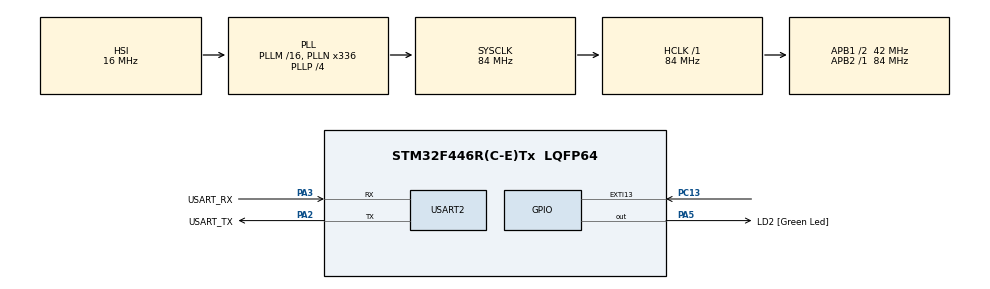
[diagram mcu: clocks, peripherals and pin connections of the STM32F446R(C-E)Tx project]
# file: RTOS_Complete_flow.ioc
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FREERTOS.BinarySemaphores01=buttonSemaphore,Dynamic,NULL,Depleted
FREERTOS.Mutexes01=uartMutex,Dynamic,NULL,Available
FREERTOS.Queues01=SensorDataQueue,5,uint32_t,0,Dynamic,NULL,NULL
FREERTOS.Tasks01=SensorTask,24,128,SensorTask_init,Default,NULL,Dynamic,NULL,NULL;LoggerTask,25,128,LoggerTask_Init,Default,NULL,Dynamic,NULL,NULL;DefTask,8,128,DefTask_init,Default,NULL,Dynamic,NULL,NULL
FREERTOS.configUSE_NEWLIB_REENTRANT=1
Mcu.Family=STM32F4
Mcu.Name=STM32F446R(C-E)Tx
Mcu.Package=LQFP64
NVIC.EXTI15_10_IRQn=true\:5\:0\:false\:false\:true\:true\:true\:true\:true
NVIC.PriorityGroup=NVIC_PRIORITYGROUP_4
NVIC.TIM6_DAC_IRQn=true\:15\:0\:false\:false\:true\:false\:false\:true\:true
NVIC.TimeBase=TIM6_DAC_IRQn
NVIC.TimeBaseIP=TIM6
NVIC.USART2_IRQn=true\:5\:0\:false\:false\:true\:true\:true\:true\:true
PA13.Mode=Trace_Asynchronous_SW
PA13.Signal=SYS_JTMS-SWDIO
PA14.Mode=Trace_Asynchronous_SW
PA14.Signal=SYS_JTCK-SWCLK
PA2.GPIO_Label=USART_TX
PA2.Mode=Asynchronous
PA2.Signal=USART2_TX
PA3.GPIO_Label=USART_RX
PA3.Mode=Asynchronous
PA3.Signal=USART2_RX
PA5.GPIO_Label=LD2 [Green Led]
PA5.Signal=GPIO_Output
PB3.Mode=Trace_Asynchronous_SW
PB3.Signal=SYS_JTDO-SWO
PC13.GPIO_ModeDefaultEXTI=GPIO_MODE_IT_FALLING
PC13.Signal=GPXTI13
ProjectManager.HeapSize=0x200
ProjectManager.StackSize=0x400
ProjectManager.TargetToolchain=STM32CubeIDE
RCC.AHBFreq_Value=84000000
RCC.APB1CLKDivider=RCC_HCLK_DIV2
RCC.APB1Freq_Value=42000000
RCC.APB1TimFreq_Value=84000000
RCC.APB2Freq_Value=84000000
RCC.APB2TimFreq_Value=84000000
RCC.CortexFreq_Value=84000000
RCC.FLatency-AdvancedSettings=FLASH_LATENCY_2
RCC.HCLKFreq_Value=84000000
RCC.HSE_VALUE=8000000
RCC.HSI_VALUE=16000000
RCC.LSE_VALUE=32768
RCC.PLLN=336
RCC.PLLP=RCC_PLLP_DIV4
RCC.SYSCLKFreq_VALUE=84000000
RCC.SYSCLKSource=RCC_SYSCLKSOURCE_PLLCLK
RCC.USBFreq_Value=168000000
RCC.VCOOutputFreq_Value=336000000
USART2.VirtualMode=VM_ASYNC
VP_FREERTOS_VS_CMSIS_V2.Mode=CMSIS_V2
VP_SYS_VS_tim6.Mode=TIM6
board=NUCLEO-F446RE

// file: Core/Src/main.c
/* USER CODE BEGIN Header */
/**
  ******************************************************************************
  * @file           : main.c
  * @brief          : Main program body
  ******************************************************************************
  * @attention
  *
  * Copyright (c) 2025 STMicroelectronics.
  * All rights reserved.
  *
  * This software is licensed under terms that can be found in the LICENSE file
  * in the root directory of this software component.
  * If no LICENSE file comes with this software, it is provided AS-IS.
  *
  ******************************************************************************
  */
/* USER CODE END Header */
#include "main.h"
#include "cmsis_os.h"

/* USER CODE BEGIN Includes */
#include<stdio.h>
#include<string.h>
/* USER CODE END Includes */

UART_HandleTypeDef huart2;

/* Definitions for SensorTask */
osThreadId_t SensorTaskHandle;
const osThreadAttr_t SensorTask_attributes = {
  .name = "SensorTask",
  .stack_size = 128 * 4,
  .priority = (osPriority_t) osPriorityNormal,
};
/* Definitions for LoggerTask */
osThreadId_t LoggerTaskHandle;
const osThreadAttr_t LoggerTask_attributes = {
  .name = "LoggerTask",
  .stack_size = 128 * 4,
  .priority = (osPriority_t) osPriorityNormal1,
};
/* Definitions for DefTask */
osThreadId_t DefTaskHandle;
const osThreadAttr_t DefTask_attributes = {
  .name = "DefTask",
  .stack_size = 128 * 4,
  .priority = (osPriority_t) osPriorityLow,
};
/* Definitions for SensorDataQueue */
osMessageQueueId_t SensorDataQueueHandle;
const osMessageQueueAttr_t SensorDataQueue_attributes = {
  .name = "SensorDataQueue"
};
/* Definitions for uartMutex */
osMutexId_t uartMutexHandle;
const osMutexAttr_t uartMutex_attributes = {
  .name = "uartMutex"
};
/* Definitions for buttonSemaphore */
osSemaphoreId_t buttonSemaphoreHandle;
const osSemaphoreAttr_t buttonSemaphore_attributes = {
  .name = "buttonSemaphore"
};

void SystemClock_Config(void);
static void MX_GPIO_Init(void);
static void MX_USART2_UART_Init(void);
void SensorTask_init(void *argument);
void LoggerTask_Init(void *argument);
void DefTask_init(void *argument);

int main(void)
{

  /* MCU Configuration--------------------------------------------------------*/

  /* Reset of all peripherals, Initializes the Flash interface and the Systick. */
  HAL_Init();

  /* Configure the system clock */
  SystemClock_Config();

  /* Initialize all configured peripherals */
  MX_GPIO_Init();
  MX_USART2_UART_Init();

  /* Init scheduler */
  osKernelInitialize();
  /* Create the mutex(es) */
  /* creation of uartMutex */
  uartMutexHandle = osMutexNew(&uartMutex_attributes);

  /* Create the semaphores(s) */
  /* creation of buttonSemaphore */
  buttonSemaphoreHandle = osSemaphoreNew(1, 0, &buttonSemaphore_attributes);

  /* Create the queue(s) */
  /* creation of SensorDataQueue */
  SensorDataQueueHandle = osMessageQueueNew (5, sizeof(uint32_t), &SensorDataQueue_attributes);

  /* Create the thread(s) */
  /* creation of SensorTask */
  SensorTaskHandle = osThreadNew(SensorTask_init, NULL, &SensorTask_attributes);

  /* creation of LoggerTask */
  LoggerTaskHandle = osThreadNew(LoggerTask_Init, NULL, &LoggerTask_attributes);

  /* creation of DefTask */
  DefTaskHandle = osThreadNew(DefTask_init, NULL, &DefTask_attributes);

  /* Start scheduler */
  osKernelStart();

  /* We should never get here as control is now taken by the scheduler */

  /* Infinite loop */
  while (1)
  {

  }
}

void SystemClock_Config(void)
{
  RCC_OscInitTypeDef RCC_OscInitStruct = {0};
  RCC_ClkInitTypeDef RCC_ClkInitStruct = {0};

  /** Configure the main internal regulator output voltage
  */
  __HAL_RCC_PWR_CLK_ENABLE();
  __HAL_PWR_VOLTAGESCALING_CONFIG(PWR_REGULATOR_VOLTAGE_SCALE3);

  /** Initializes the RCC Oscillators according to the specified parameters
  * in the RCC_OscInitTypeDef structure.
  */
  RCC_OscInitStruct.OscillatorType = RCC_OSCILLATORTYPE_HSI;
  RCC_OscInitStruct.HSIState = RCC_HSI_ON;
  RCC_OscInitStruct.HSICalibrationValue = RCC_HSICALIBRATION_DEFAULT;
  RCC_OscInitStruct.PLL.PLLState = RCC_PLL_ON;
  RCC_OscInitStruct.PLL.PLLSource = RCC_PLLSOURCE_HSI;
  RCC_OscInitStruct.PLL.PLLM = 16;
  RCC_OscInitStruct.PLL.PLLN = 336;
  RCC_OscInitStruct.PLL.PLLP = RCC_PLLP_DIV4;
  RCC_OscInitStruct.PLL.PLLQ = 2;
  RCC_OscInitStruct.PLL.PLLR = 2;
  if (HAL_RCC_OscConfig(&RCC_OscInitStruct) != HAL_OK)
  {
    Error_Handler();
  }

  /** Initializes the CPU, AHB and APB buses clocks
  */
  RCC_ClkInitStruct.ClockType = RCC_CLOCKTYPE_HCLK|RCC_CLOCKTYPE_SYSCLK
                              |RCC_CLOCKTYPE_PCLK1|RCC_CLOCKTYPE_PCLK2;
  RCC_ClkInitStruct.SYSCLKSource = RCC_SYSCLKSOURCE_PLLCLK;
  RCC_ClkInitStruct.AHBCLKDivider = RCC_SYSCLK_DIV1;
  RCC_ClkInitStruct.APB1CLKDivider = RCC_HCLK_DIV2;
  RCC_ClkInitStruct.APB2CLKDivider = RCC_HCLK_DIV1;

  if (HAL_RCC_ClockConfig(&RCC_ClkInitStruct, FLASH_LATENCY_2) != HAL_OK)
  {
    Error_Handler();
  }
}

static void MX_USART2_UART_Init(void)
{

  huart2.Instance = USART2;
  huart2.Init.BaudRate = 115200;
  huart2.Init.WordLength = UART_WORDLENGTH_8B;
  huart2.Init.StopBits = UART_STOPBITS_1;
  huart2.Init.Parity = UART_PARITY_NONE;
  huart2.Init.Mode = UART_MODE_TX_RX;
  huart2.Init.HwFlowCtl = UART_HWCONTROL_NONE;
  huart2.Init.OverSampling = UART_OVERSAMPLING_16;
  if (HAL_UART_Init(&huart2) != HAL_OK)
  {
    Error_Handler();
  }

}

static void MX_GPIO_Init(void)
{
  GPIO_InitTypeDef GPIO_InitStruct = {0};

  /* GPIO Ports Clock Enable */
  __HAL_RCC_GPIOC_CLK_ENABLE();
  __HAL_RCC_GPIOA_CLK_ENABLE();
  __HAL_RCC_GPIOB_CLK_ENABLE();

  /*Configure GPIO pin Output Level */
  HAL_GPIO_WritePin(LD2_GPIO_Port, LD2_Pin, GPIO_PIN_RESET);

  /*Configure GPIO pin : PC13 */
  GPIO_InitStruct.Pin = GPIO_PIN_13;
  GPIO_InitStruct.Mode = GPIO_MODE_IT_FALLING;
  GPIO_InitStruct.Pull = GPIO_NOPULL;
  HAL_GPIO_Init(GPIOC, &GPIO_InitStruct);

  /*Configure GPIO pin : LD2_Pin */
  GPIO_InitStruct.Pin = LD2_Pin;
  GPIO_InitStruct.Mode = GPIO_MODE_OUTPUT_PP;
  GPIO_InitStruct.Pull = GPIO_NOPULL;
  GPIO_InitStruct.Speed = GPIO_SPEED_FREQ_LOW;
  HAL_GPIO_Init(LD2_GPIO_Port, &GPIO_InitStruct);

  /* EXTI interrupt init*/
  HAL_NVIC_SetPriority(EXTI15_10_IRQn, 5, 0);
  HAL_NVIC_EnableIRQ(EXTI15_10_IRQn);

}

/* USER CODE BEGIN 4 */
void HAL_GPIO_EXTI_Callback(uint16_t GPIO_Pin){
	if(GPIO_Pin == GPIO_PIN_13){
//		if blue button was triggered, then signal a semaphore
		osSemaphoreRelease(buttonSemaphoreHandle);
	}
}
/* USER CODE END 4 */

void SensorTask_init(void *argument)
{
  /* USER CODE BEGIN 5 */
	static int no_of_times = 0;
  /* Infinite loop */
  for(;;)
  {
//	  wait for the semaphore to be released, then send the data to the sensorQueue
	  osSemaphoreAcquire(buttonSemaphoreHandle, osWaitForever);

	  no_of_times++;

	  osMessageQueuePut(SensorDataQueueHandle, &no_of_times, 0, 0);
  }
  /* USER CODE END 5 */
}

void LoggerTask_Init(void *argument)
{
  /* USER CODE BEGIN LoggerTask_Init */
	uint8_t data[50];
	int received_data = 0;
  /* Infinite loop */
  for(;;)
  {
//    if the queue data is received then lock the printf (software path lock) & print the message
	  if(osMessageQueueGet(SensorDataQueueHandle, &received_data, 0, osWaitForever) == osOK){
//		  lock the mutex
		  osMutexAcquire(uartMutexHandle, osWaitForever);
		  snprintf((char*)data, sizeof(data), "Sensor value is %d\n", received_data);
		  HAL_UART_Transmit(&huart2, data, strlen((char *)data), 10);

		  printf("Sensor value is %d\n", received_data);

//		  this is only for testing that only after 5sec delay, Mutex is relased
//		  and only when relased it is used by other tasks
//		  Basically this will be blocked and mutex is not released during Blocked state
		  osDelay(5000);

		  osMutexRelease(uartMutexHandle);
	  }
  }
  /* USER CODE END LoggerTask_Init */
}

void DefTask_init(void *argument)
{
  /* USER CODE BEGIN DefTask_init */
  /* Infinite loop */
  for(;;)
  {
	  const uint8_t buffer[20] = "Def task is running\n";

	  osMutexAcquire(uartMutexHandle, osWaitForever);
	  HAL_UART_Transmit(&huart2, buffer , 20, 10);
	  osMutexRelease(uartMutexHandle);

	  osDelay(1000);
  }
  /* USER CODE END DefTask_init */
}

void HAL_TIM_PeriodElapsedCallback(TIM_HandleTypeDef *htim)
{
  if (htim->Instance == TIM6) {
    HAL_IncTick();
  }
}

void Error_Handler(void)
{
  __disable_irq();
  while (1)
  {
  }
}
